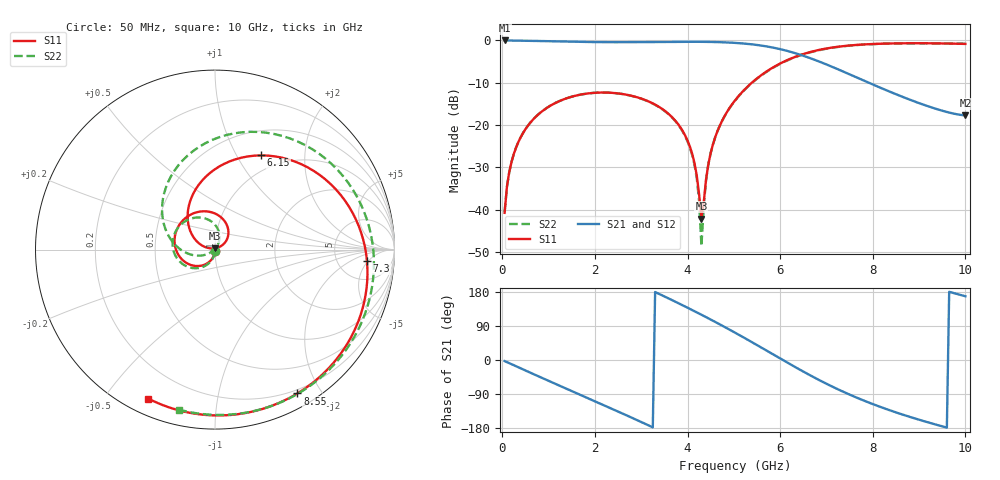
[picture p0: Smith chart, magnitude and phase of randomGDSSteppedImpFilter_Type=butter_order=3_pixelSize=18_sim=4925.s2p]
! freq	dB(S11)	phase(S11)	dB(S12)	phase(S12)
!  dB(S21)	phase(S21)	dB(S22)	phase(S22)
!S-par simulation data
#  GHz  S  DB  R 50
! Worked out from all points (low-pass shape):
!   200 points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, 50 MHz to 10 GHz, reference 50 ohm
!   highest |S21| = -0.01 dB at 50 MHz (marker M1); lowest = -17.7 dB at 10 GHz (marker M2)
!   |S21| within 3 dB of the highest: start of sweep to 6.323 GHz
!   lowest |S11| = -42.1 dB at 4.3 GHz (marker M3), VSWR 1.02, Z = 50.1 + j0.78 ohm
!   |S11| at or under -10 dB: start of sweep to 5.389 GHz
!   |S22| runs from -48.7 to -0.7 dB; largest |S21 - S12| = 0
!   S11 on the Smith chart (normalised r, x): 50 MHz: 1.00, -0.02; 6.15 GHz: 0.79, +1.27; 7.3 GHz: 10, -5; 8.55 GHz: 0.16, -1.71; 10 GHz: 0.07, -0.65
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0.05  -40.79 -89.4  -0.01 -2.8  -0.01 -2.8  -40.58 -91.7
0.2  -28.71 -101.8  -0.02 -11.1  -0.02 -11.1  -28.70 -100.1
0.5  -21.00 -120.0  -0.07 -27.7  -0.07 -27.7  -20.99 -116.0
1.15  -14.77 -158.5  -0.23 -63.1  -0.23 -63.1  -14.76 -149.1
1.75  -12.70 166.6  -0.36 -95.4  -0.36 -95.4  -12.70 -178.9
2.65  -12.78 113.8  -0.42 -144.2  -0.42 -144.2  -12.79 136.7
3.4  -15.83 68.7  -0.36 173.6  -0.36 173.6  -15.88 98.5
3.85  -20.63 42.2  -0.32 147.1  -0.32 147.1  -20.75 74.7
4.1  -26.81 30.9  -0.32 131.9  -0.32 131.9  -27.10 62.4
4.25  -36.44 41.9  -0.32 122.6  -0.32 122.6  -37.99 64.1
4.3  -42.13 84.5  -0.33 119.5  -0.33 119.5  -48.67 116.6
4.4  -32.88 163.1  -0.34 113.2  -0.34 113.2  -33.00 -147.2
4.5  -26.63 166.4  -0.36 106.8  -0.36 106.8  -26.62 -149.3
5.05  -13.85 136.8  -0.59 70.5  -0.59 70.5  -13.90 177.8
5.65  -7.77 97.3  -1.31 28.8  -1.31 28.8  -7.85 135.7
6.15  -4.67 64.0  -2.47 -6.5  -2.47 -6.5  -4.75 98.9
6.7  -2.60 29.4  -4.40 -43.8  -4.40 -43.8  -2.67 59.5
7.3  -1.42 -4.2  -7.07 -80.3  -7.07 -80.3  -1.47 20.5
8.35  -0.73 -52.2  -12.05 -132.0  -12.05 -132.0  -0.74 -35.4
8.55  -0.69 -60.2  -12.94 -140.3  -12.94 -140.3  -0.70 -44.5
9.25  -0.68 -86.5  -15.78 -166.6  -15.78 -166.6  -0.67 -73.8
10  -0.82 -114.1  -17.74 168.2  -17.74 168.2  -0.78 -102.6
